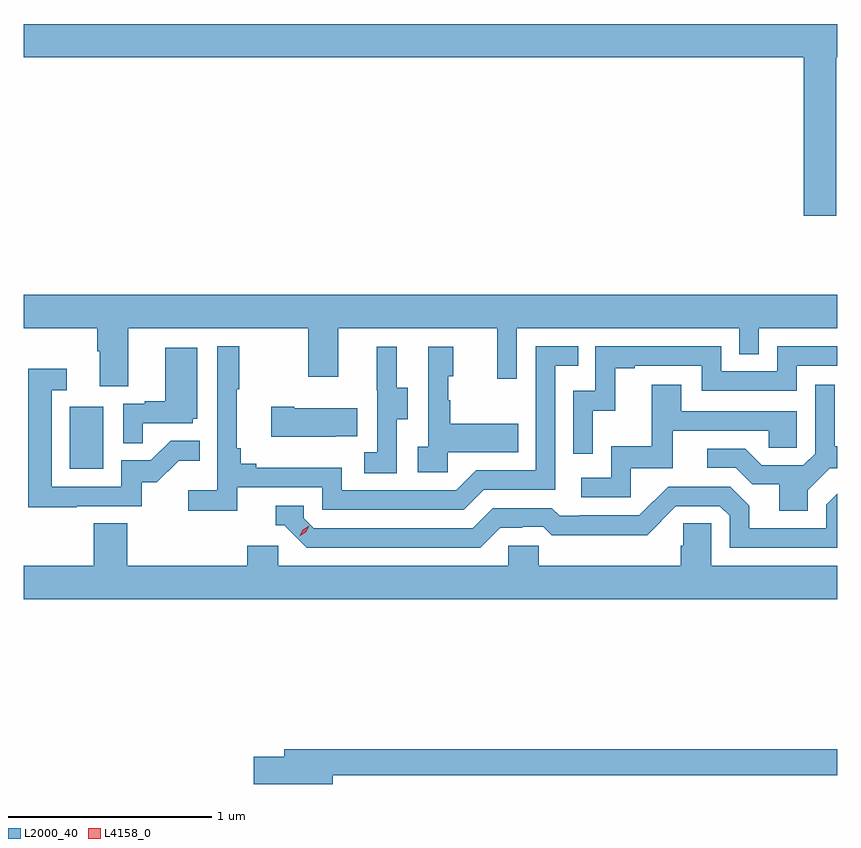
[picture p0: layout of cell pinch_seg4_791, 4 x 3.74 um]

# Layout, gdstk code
import gdstk
lib = gdstk.Library(unit=1e-6, precision=1e-09)
def R(c, l, rs):  # rectangles x0, y0, x1, y1
    for r in rs: c.add(gdstk.rectangle(r[:2], r[2:], *l))
def P(c, l, *ps):  # polygons
    for p in ps: c.add(gdstk.Polygon(p, *l))
L2000_40 = (2000, 40)
L4158_0 = (4158, 0)

pinch_seg4_791 = lib.new_cell('pinch_seg4_791')
R(pinch_seg4_791, L2000_40, [(804.68,829.428,804.844,829.735)])
P(pinch_seg4_791, L2000_40, [(808.449,831.452),(808.453,831.452),(808.453,831.616),(804.453,831.616),(804.453,831.452),(808.289,831.452),(808.289,830.673),(808.449,830.673)],
  [(804.967,830.12),(805.852,830.12),(805.852,829.881),(805.999,829.881),(805.999,830.12),(806.78,830.12),(806.78,829.872),(806.877,829.872),(806.877,830.12),(807.972,830.12),(807.972,829.993),(808.068,829.993),(808.068,830.12),(808.453,830.12),(808.453,830.284),(804.453,830.284),(804.453,830.12),(804.815,830.12),(804.815,830.008),(804.827,830.008),(804.827,829.834),(804.967,829.834)],
  [(805.502,829.338),(805.92,829.338),(805.92,829.227),(806.617,829.227),(806.716,829.326),(807.066,829.326),(807.066,829.935),(807.179,829.935),(807.179,830.031),(806.97,830.031),(806.97,829.422),(806.679,829.422),(806.58,829.323),(806.016,829.323),(806.016,829.435),(805.597,829.435),(805.597,829.454),(805.52,829.454),(805.52,829.531),(805.501,829.531),(805.501,829.819),(805.513,829.819),(805.513,830.032),(805.404,830.032),(805.404,829.324),(805.263,829.324),(805.263,829.222),(805.502,829.222)],
  [(807.252,829.715),(807.362,829.715),(807.362,829.923),(807.457,829.923),(807.457,829.935),(807.786,829.935),(807.786,829.812),(808.254,829.812),(808.254,829.935),(808.453,829.935),(808.453,830.031),(808.158,830.031),(808.158,829.908),(807.882,829.908),(807.882,830.031),(807.264,830.031),(807.264,829.812),(807.156,829.812),(807.156,829.503),(807.252,829.503)],
  [(806.286,829.672),(806.341,829.672),(806.341,829.827),(806.287,829.827),(806.287,830.029),(806.189,830.029),(806.189,829.815),(806.19,829.815),(806.19,829.511),(806.127,829.511),(806.127,829.408),(806.286,829.408)],
  [(806.538,829.511),(806.885,829.511),(806.885,829.651),(806.551,829.651),(806.551,829.766),(806.541,829.766),(806.541,829.884),(806.566,829.884),(806.566,830.029),(806.442,830.029),(806.442,829.538),(806.391,829.538),(806.391,829.413),(806.538,829.413)],
  [(805.037,829.653),(805.284,829.653),(805.284,829.674),(805.306,829.674),(805.306,830.023),(805.148,830.023),(805.148,829.762),(805.049,829.762),(805.049,829.749),(804.942,829.749),(804.942,829.555),(805.037,829.555)],
  [(804.713,829.245),(805.032,829.245),(805.032,829.362),(805.108,829.362),(805.215,829.469),(805.319,829.469),(805.319,829.568),(805.175,829.568),(805.077,829.47),(804.933,829.47),(804.933,829.341),(804.591,829.341),(804.591,829.815),(804.664,829.815),(804.664,829.921),(804.475,829.921),(804.475,829.24),(804.713,829.24)],
  [(808.309,829.324),(808.416,829.431),(808.453,829.431),(808.453,829.54),(808.441,829.54),(808.441,829.843),(808.344,829.843),(808.344,829.503),(808.287,829.446),(808.081,829.446),(808,829.527),(807.813,829.527),(807.813,829.434),(807.954,829.434),(808.034,829.354),(808.169,829.354),(808.169,829.222),(808.309,829.222)],
  [(807.438,829.431),(807.643,829.431),(807.643,829.617),(808.117,829.617),(808.117,829.533),(808.254,829.533),(808.254,829.713),(807.685,829.713),(807.685,829.843),(807.541,829.843),(807.541,829.54),(807.342,829.54),(807.342,829.386),(807.195,829.386),(807.195,829.29),(807.438,829.29)],
  [(805.985,829.589),(806.093,829.589),(806.093,829.726),(805.783,829.726),(805.783,829.734),(805.671,829.734),(805.671,829.586),(805.985,829.586)],
  [(806.797,829.14),(806.904,829.14),(806.904,829.143),(807.007,829.143),(807.049,829.101),(807.282,829.101),(807.282,829.103),(807.518,829.103),(807.66,829.245),(807.876,829.245),(807.924,829.197),(807.924,829.041),(808.453,829.041),(808.453,829.306),(808.398,829.251),(808.398,829.137),(808.021,829.137),(808.021,829.247),(807.927,829.341),(807.621,829.341),(807.48,829.2),(807.187,829.2),(807.187,829.197),(807.088,829.197),(807.049,829.236),(806.76,829.236),(806.661,829.137),(805.878,829.137),(805.83,829.185),(805.83,829.248),(805.691,829.248),(805.691,829.152),(805.734,829.152),(805.845,829.041),(806.698,829.041)],
  [(808.453,828.952),(807.834,828.952),(807.834,829.16),(807.697,829.16),(807.697,829.05),(807.683,829.05),(807.683,828.952),(806.985,828.952),(806.985,829.05),(806.835,829.05),(806.835,828.952),(805.704,828.952),(805.704,829.05),(805.553,829.05),(805.553,828.952),(804.962,828.952),(804.962,829.16),(804.797,829.16),(804.797,828.952),(804.453,828.952),(804.453,828.788),(808.453,828.788)],
  [(805.972,827.922),(808.453,827.922),(808.453,828.05),(805.733,828.05),(805.733,828.014),(805.584,828.014),(805.584,827.879),(805.972,827.879)])
P(pinch_seg4_791, L4158_0, [(805.809,829.097),(805.809,829.097),(805.825,829.13),(805.856,829.15),(805.856,829.15),(805.856,829.149),(805.84,829.116),(805.809,829.097)])

lib.write_gds('pinch_seg4_791.gds')
